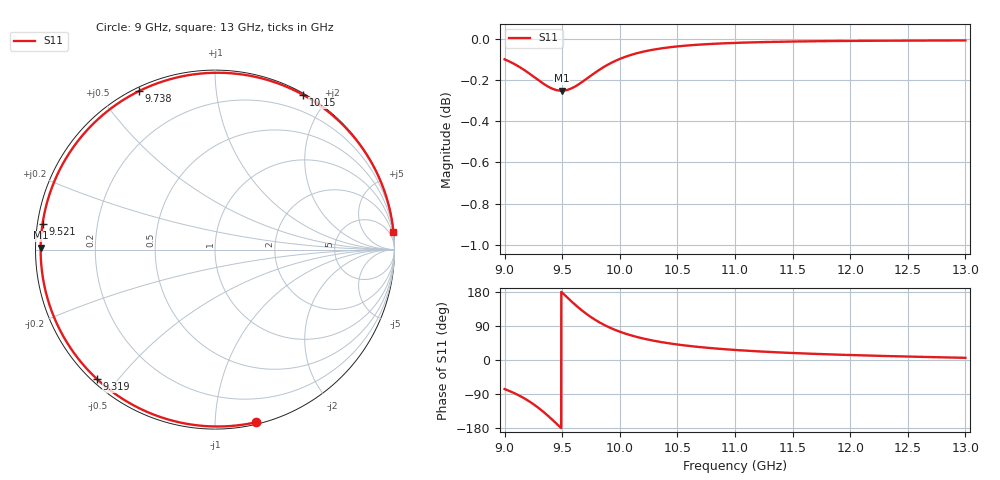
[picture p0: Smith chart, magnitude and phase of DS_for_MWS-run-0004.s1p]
! TOUCHSTONE file generated by CST DESIGN STUDIO
! Date and time: Tue Feb  4 12:41:12 2025
! Project name: C:\Work\MatlabApps\UnitCellOptimizationMatlab\CST\unitcell.cst
! Tree item: Tasks\Sweep1\SPara1\S-Parameters
! Header version: 2024
! Port assignment regex: !\s*Touchstone port\s*([0-9]+)\s*=\s*(CST MWS port|CST DES external port|CST DES block port)\s*(.+)\s* \(\"(.*)\"\)(\s*mode\s*([0-9]+))?.*
! Touchstone port assignment:
! Touchstone port 1 = CST DES external port 1 ("")
# GHz S MA R 50
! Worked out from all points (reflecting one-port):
!   4001 points, 9 GHz to 13 GHz, reference 50 ohm
!   lowest |S11| = -0.3 dB at 9.494 GHz (marker M1), VSWR 69.17, Z = 0.723 + j0.258 ohm
!   phase of S11 starts at -77 deg and turns -278 deg over the sweep
!   S11 on the Smith chart (normalised r, x): 9 GHz: 0.01, -1.26; 9.319 GHz: 0.01, -0.44; 9.521 GHz: 0.01, +0.07; 9.738 GHz: 0.01, +0.63; 10.15 GHz: 0.02, +1.72; 13 GHz: 0, +20
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9  0.9887 -76.7
9.083  0.9862 -87.3
9.183  0.9823 -103.4
9.254  0.9791 -117.4
9.319  0.9761 -132.4
9.365  0.9742 -144.1
9.414  0.9726 -157.5
9.455  0.9718 -169.2
9.494  0.9715 179.4
9.5  0.9715 177.7
9.521  0.9716 171.5
9.574  0.9726 156.4
9.634  0.9746 140.1
9.685  0.9768 127.5
9.738  0.9792 115.6
9.791  0.9816 105.1
9.85  0.9841 94.9
9.924  0.9867 84.0
10  0.9889 74.7
10.153  0.9922 60.4
10.31  0.9943 50.0
10.5  0.9959 40.9
10.722  0.997 33.3
11  0.9979 26.5
11.5  0.9986 18.5
12  0.999 13.1
12.5  0.9991 9.1
13  0.9992 5.8
